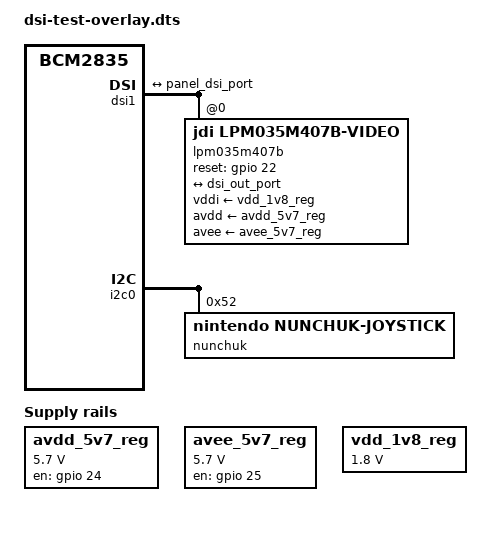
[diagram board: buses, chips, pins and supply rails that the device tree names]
/dts-v1/;
/plugin/;

#define MIPI_DSI_MODE_VIDEO						1
#define MIPI_DSI_MODE_VIDEO_BURST				2
#define MIPI_DSI_MODE_VIDEO_SYNC_PULSE			4
#define MIPI_DSI_MODE_VIDEO_AUTO_VERT			8
#define MIPI_DSI_MODE_VIDEO_HSE					16
#define MIPI_DSI_MODE_VIDEO_NO_HFP				32
#define MIPI_DSI_MODE_VIDEO_NO_HBP				64
#define MIPI_DSI_MODE_VIDEO_NO_HSA				128
#define MIPI_DSI_MODE_VSYNC_FLUSH				256
#define MIPI_DSI_MODE_NO_EOT_PACKET				512
#define MIPI_DSI_CLOCK_NON_CONTINUOUS			1024
#define MIPI_DSI_MODE_LPM						2048

#define DRM_MODE_FLAG_PHSYNC					1
#define DRM_MODE_FLAG_NHSYNC					2
#define DRM_MODE_FLAG_PVSYNC					4
#define DRM_MODE_FLAG_NVSYNC					8
#define DRM_MODE_FLAG_INTERLACE					16
#define DRM_MODE_FLAG_DBLSCAN					32
#define DRM_MODE_FLAG_CSYNC						64
#define DRM_MODE_FLAG_PCSYNC					128
#define DRM_MODE_FLAG_NCSYNC					256
#define DRM_MODE_FLAG_HSKEW						512
#define DRM_MODE_FLAG_BCAST						1024
#define DRM_MODE_FLAG_PIXMUX					2048
#define DRM_MODE_FLAG_DBLCLK					4096
#define DRM_MODE_FLAG_CLKDIV2					8192

#define BCM2835_FSEL_GPIO_IN					0
#define BCM2835_FSEL_GPIO_OUT					1
#define BCM2835_FSEL_ALT5						2
#define BCM2835_FSEL_ALT4						3
#define BCM2835_FSEL_ALT0						4
#define BCM2835_FSEL_ALT1						5
#define BCM2835_FSEL_ALT2						6
#define BCM2835_FSEL_ALT3						7

#define BCM2835_PUD_OFF							0
#define BCM2835_PUD_DOWN						1
#define BCM2835_PUD_UP							2

#define GPIO_ACTIVE_HIGH 						0
#define GPIO_ACTIVE_LOW 						1

#define DRM_MODE_PANEL_ORIENTATION_NORMAL		0
#define DRM_MODE_PANEL_ORIENTATION_BOTTOM_UP	1
#define DRM_MODE_PANEL_ORIENTATION_LEFT_UP		2
#define DRM_MODE_PANEL_ORIENTATION_RIGHT_UP		3

/ {
    compatible = "brcm,bcm2835";

	fragment@0 {
		target = <&gpio>;
		__overlay__ {

			reset_pins: reset_pins {
				brcm,pins = <22>;
				brcm,function = <BCM2835_FSEL_GPIO_OUT>;    /* out */
                brcm,pull = <BCM2835_PUD_OFF>;              /* no pull */
			};

			bias_pins: bias_pins {
				brcm,pins = <24 25>;
				brcm,function = <BCM2835_FSEL_GPIO_OUT>;    /* out */
                brcm,pull = <BCM2835_PUD_OFF>;              /* no pull */
			};

			nunchuk_pins: nunchuk_pins {
				brcm,pins = <46 47>;
				brcm,function = <BCM2835_FSEL_ALT0>;    	/* i2c */
                brcm,pull = <BCM2835_PUD_OFF>;              /* no pull */
			};
		};
	};

    fragment@1 {
        target-path = "/";
        __overlay__ {

            avdd_5v7_reg: fixedregulator_pos_5v7 {
                compatible = "regulator-fixed";
                regulator-name = "lcm_pos_bias";
                regulator-min-microvolt = <5700000>;
                regulator-max-microvolt = <5700000>;
                gpio = <&gpio 24 GPIO_ACTIVE_HIGH>;
                enable-active-high;
            };

            avee_5v7_reg: fixedregulator_neg_5v7 {
                compatible = "regulator-fixed";
                regulator-name = "lcm_neg_bias";
                regulator-min-microvolt = <5700000>;
                regulator-max-microvolt = <5700000>;
                gpio = <&gpio 25 GPIO_ACTIVE_HIGH>;
                enable-active-high;
            };

            vdd_1v8_reg: fixedregulator_1v8 {
                compatible = "regulator-fixed";
                regulator-always-on;
                regulator-max-microvolt = <1800000>;
                regulator-min-microvolt = <1800000>;
                regulator-name = "1v8";
            };
        };
    };

	fragment@2 {
		target = <&dsi1>;
		__overlay__{
			status = "okay";
			#address-cells = <1>;
			#size-cells = <0>;

			port {
				dsi_out_port:endpoint {
					remote-endpoint = <&panel_dsi_port>;
				};
			};

			lpm035m407b:lpm035m407b@0 {
				compatible    = "jdi,lpm035m407b-video";
				status        = "okay";
				reg           = <0>;
				
				reset-gpios   = <&gpio 22 GPIO_ACTIVE_HIGH>;   /* reset */
                vddi-supply   = <&vdd_1v8_reg>;
                avdd-supply   = <&avdd_5v7_reg>;
                avee-supply   = <&avee_5v7_reg>;

				debug-on;	/* Remove this for default config */

				panel-orient  = <DRM_MODE_PANEL_ORIENTATION_LEFT_UP>;
				video-flags   = <(MIPI_DSI_MODE_VIDEO | MIPI_DSI_MODE_LPM | MIPI_DSI_CLOCK_NON_CONTINUOUS)>;
				panel-mode = 	<142000>,				/* .clock */
								<1440>,					/* .hdisplay */
								<(1440 + 30)>,			/* .hsync_start */
								<(1440 + 30 + 2)>,		/* .hsync_end */
								<(1440 + 30 + 2 + 30)>,	/* .htotal */
								<1600>,					/* .vdisplay */
								<(1600 + 10)>,			/* .vsync_start */
								<(1600 + 10 + 2)>,		/* .vsync_end */
								<(1600 + 10 + 2 + 10)>,	/* .vtotal */
								<60>,					/* .width_mm */
								<66>,					/* .height_mm */
								<0>;						/* .flags */

				on-cmds       =
					[02 FF 10],				/* Page select */
					[02 FB 01],				/* Reload */
					[05 2A 00 00 05 9F],		/* SET_HORIZONTAL_ADDRESS */
					[05 2B 00 00 06 3F],		/* SET_VERTICAL_ADDRESS */
					[02 35 00],				/* SET_TEAR_ON */
					[02 BA 07],				/* SET_MIPI_LANE (4-lane x 1-port) */
					[02 BB 13],				/* SETDSIMODE (03: Video Mode bypass RAM, 10: Command Mode, 13: Video Mode with RAM) */
					[02 E5 00],				/* BK_EN (Random 00h, Black 01h) */

					[02 FF 26],				/* Page select (PWM adjustment for JDI reccomended video timing) */
					[02 FB 01],				/* Reload */
					[02 02 C0],				/* DELY_VID */
					[02 03 00],				/* DELY_VID */

					[02 FF 25],				/* Page select */
					[02 FB 01],				/* Reload */
					[02 62 60],				/* PIN_CTRL3 */
					[02 65 00],				/* VSOUTS_1 */
					[02 66 07],				/* VSOUTS_2 */
					[02 67 56],				/* VSOUTW */

					[02 FF D0],				/* Page select */
					[02 FB 01],				/* Reload */
					[02 05 88],				/* Adjustment of timing */

					[02 FF 10],				/* Page select */
					[02 FB 01],				/* Reload */
					[02 C0 00],				/* Compression (80: No compression, 83: VESA_DSC) */
					//[05 BE 01 90 0F 39],	/* RGBMIPICTRL_HF */
					[04 3B 03 0A 0A],
					//[06 3B 03 0A 0A 04 04],
					//[05 3B 00 0A 00 0A],
				
					/* Leave here */
					[02 FF 10],
					[02 FB 01];

				port {
					panel_dsi_port: endpoint {
						remote-endpoint = <&dsi_out_port>;
					};
				};
			};
		};
	};

	fragment@3 {
		target = <&i2c0>;
		__overlay__{
			#address-cells = <1>;
			#size-cells = <0>;
			status = "okay";
			pinctrl-names = "default";
			pinctrl-0 = <&nunchuk_pins>;

			nunchuk: nunchuk@52 {
				compatible = "nintendo,nunchuk-joystick";
				reg = <0x52>;
			};
		};
	};
};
